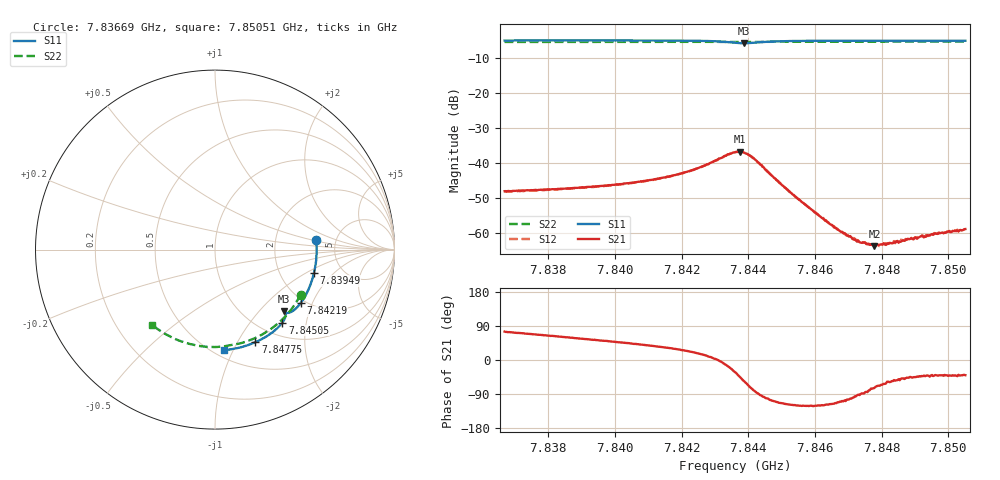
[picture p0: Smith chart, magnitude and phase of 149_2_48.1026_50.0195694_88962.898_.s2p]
#  HZ  S  RI  R  50.00
! Rohde & Schwarz Vector Network Analyzer
! Rohde-Schwarz,ZNB20-2Port,1311601062101988,3.16
! Created: UTC 12/23/2023, 3:49:34 AM
! freq[Hz]  re:S11  im:S11  re:S21  im:S21  re:S12  im:S12  re:S22  im:S22
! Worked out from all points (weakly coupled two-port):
!   401 points, 7.83669 GHz to 7.85051 GHz, reference 50 ohm
!   highest |S21| = -36.78 dB at 7.84374 GHz (marker M1); lowest = -63.9 dB at 7.84778 GHz (marker M2)
!   lowest |S11| = -5.7 dB at 7.84388 GHz (marker M3), VSWR 3.14, Z = 73.9 - j69.5 ohm
!   |S11| at or under -10 dB: nowhere
!   |S22| runs from -5.4 to -5.3 dB; largest |S21 - S12| = 0.00026
!   S11 on the Smith chart (normalised r, x): 7.83669 GHz: 3.50, +0.58; 7.83949 GHz: 3.12, -1.19; 7.84219 GHz: 1.88, -1.65; 7.84505 GHz: 1.25, -1.46; 7.84775 GHz: 0.79, -1.19; 7.85051 GHz: 0.56, -0.92
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7.836695e9  0.5632 0.0559  0.00102 0.00378  0.00108 0.00372  0.4772 -0.2515
7.839009e9  0.5584 -0.0976  0.00246 0.00368  0.00247 0.00367  0.3819 -0.382
7.839493e9  0.552 -0.1294  0.00283 0.00364  0.0028 0.0036  0.3574 -0.4054
7.841323e9  0.509 -0.2464  0.00486 0.00342  0.00482 0.00346  0.2522 -0.4787
7.842187e9  0.4767 -0.299  0.00687 0.00297  0.00679 0.00298  0.1971 -0.5041
7.843085e9  0.4266 -0.3461  0.0112 5.55e-05  0.011 2.5e-05  0.1367 -0.523
7.843603e9  0.3908 -0.3509  0.012 -0.0075  0.012 -0.00751  0.1022 -0.5295
7.843741e9  0.3863 -0.3472  0.0105 -0.01  0.0105 -0.00995  0.0931 -0.5308
7.843879e9  0.3861 -0.3445  0.0078 -0.0116  0.00765 -0.0115  0.0846 -0.5324
7.844155e9  0.3922 -0.3495  0.00208 -0.0115  0.00219 -0.0114  0.0668 -0.536
7.845053e9  0.3752 -0.4067  -0.00194 -0.00421  -0.00193 -0.0042  0.00436 -0.5427
7.845917e9  0.3322 -0.451  -0.00107 -0.00179  -0.00107 -0.00181  -0.0566 -0.5405
7.846642e9  0.2916 -0.4803  -0.00046 -0.00104  -0.000458 -0.00106  -0.107 -0.5335
7.846988e9  0.2714 -0.4927  -0.000222 -0.000868  -0.000208 -0.000887  -0.131 -0.5285
7.847333e9  0.2509 -0.5036  -3.09e-05 -0.000726  -4.41e-05 -0.000776  -0.1542 -0.522
7.847609e9  0.2341 -0.5118  0.000115 -0.000684  0.000134 -0.000662  -0.1727 -0.5164
7.847747e9  0.2255 -0.5157  0.000182 -0.000658  0.00018 -0.000653  -0.182 -0.5134
7.847782e9  0.2235 -0.5166  0.000177 -0.000612  0.00018 -0.000629  -0.1843 -0.5128
7.847955e9  0.2127 -0.5212  0.000259 -0.00062  0.000269 -0.000591  -0.1958 -0.5086
7.848231e9  0.1956 -0.5279  0.000372 -0.000604  0.00037 -0.000585  -0.2137 -0.5013
7.849164e9  0.1361 -0.5461  0.000636 -0.000603  0.000644 -0.000615  -0.2723 -0.4729
7.850511e9  0.0478 -0.5601  0.000858 -0.000722  0.000838 -0.00073  -0.3503 -0.4192
